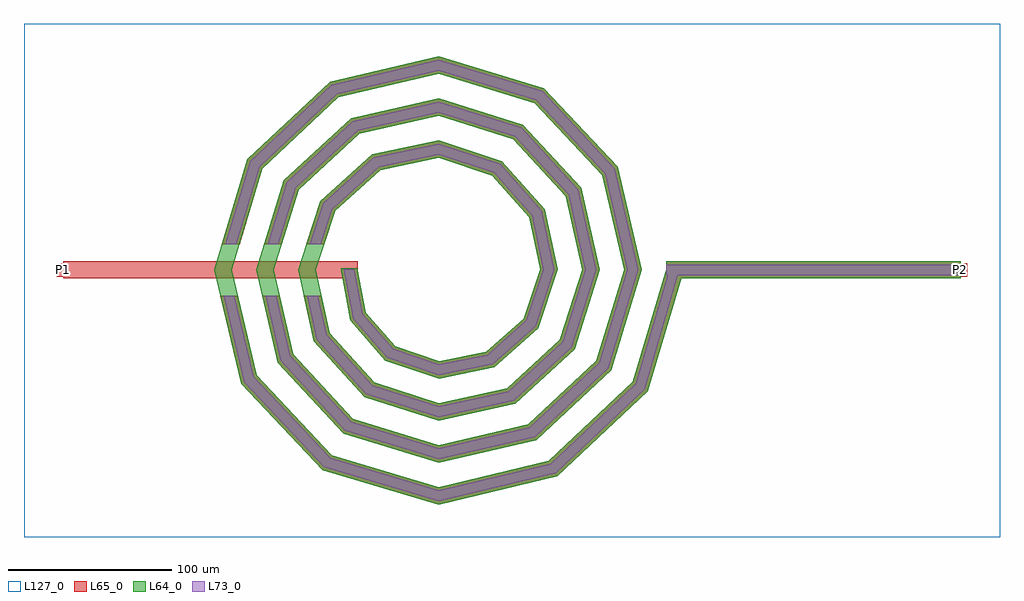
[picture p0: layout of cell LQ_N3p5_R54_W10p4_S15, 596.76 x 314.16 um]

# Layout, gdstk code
import gdstk
lib = gdstk.Library(unit=1e-6, precision=1e-09)
def R(c, l, rs):  # rectangles x0, y0, x1, y1
    for r in rs: c.add(gdstk.rectangle(r[:2], r[2:], *l))
def P(c, l, *ps):  # polygons
    for p in ps: c.add(gdstk.Polygon(p, *l))
L64_0 = (64, 0)
L65_0 = (65, 0)
L73_0 = (73, 0)
L127_0 = (127, 0)

lq_n3p5_r54_w10p4_s15 = lib.new_cell('LQ_N3p5_R54_W10p4_S15')
R(lq_n3p5_r54_w10p4_s15, L64_0, [(139.342,-5.2,319.342,5.2)])
P(lq_n3p5_r54_w10p4_s15, L64_0, [(-44.315,-26.022),(-26.449,-46.54),(0.352,-55.67),(29.199,-49.895),(52.083,-29.691),(62.091,0.318),(55.472,32.383),(32.927,57.63),(0.291,68.513),(-35.571,61.046),(-63.179,36.159),(-74.935,0.268),(-66.619,-38.763),(-39.388,-68.73),(0.248,-81.357),(41.958,-72.19),(74.283,-42.615),(87.779,0.231),(77.76,45.155),(45.839,79.837),(0.216,94.202),(-48.354,83.329),(-85.393,49.062),(-100.624,0.203),(-88.898,-51.555),(-52.284,-90.949),(0.191,-107.047),(54.756,-94.465),(96.505,-55.505),(113.469,0.181),(100.033,57.959),(58.724,102.063),(0.172,119.892),(-61.163,105.599),(-107.621,61.943),(-126.315,0.163),(-111.166,-64.367),(-65.161,-113.179),(0.156,-132.738),(67.572,-116.732),(118.738,-68.379),(139.559,1.485),(149.526,-1.485),(127.908,-74.022),(72.688,-126.206),(0.156,-143.501),(-70.817,-122.342),(-120.647,-69.47),(-137.078,0.163),(-116.775,67.612),(-66.252,115.089),(0.172,130.654),(64.408,111.208),(109.53,63.032),(124.231,0.181),(105.641,-61.204),(59.812,-103.973),(0.191,-117.808),(-58.002,-100.073),(-98.415,-56.591),(-111.384,0.203),(-94.504,54.801),(-53.368,92.859),(0.216,104.961),(51.601,88.934),(87.303,50.144),(98.538,0.231),(83.364,-48.403),(46.918,-81.748),(0.248,-92.114),(-45.206,-77.792),(-76.195,-43.69),(-85.69,0.268),(-72.218,42.012),(-40.459,70.642),(0.291,79.266),(38.822,66.642),(65.092,37.224),(72.842,0.318),(61.064,-35.635),(33.985,-59.544),(0.352,-66.417),(-32.453,-55.482),(-53.998,-30.739),(-59.727,0.983),(-49.514,0.983)])
R(lq_n3p5_r54_w10p4_s15, L65_0, [(-229.421,-5.2,-49.421,5.2), (139.342,-5.2,319.342,5.2), (-233.421,-4,-225.421,4), (315.342,-4,323.342,4)])
P(lq_n3p5_r54_w10p4_s15, L65_0, [(-111.166,-64.367),(-65.161,-113.179),(0.156,-132.738),(67.572,-116.732),(118.738,-68.379),(139.559,1.485),(149.526,-1.485),(127.908,-74.022),(72.688,-126.206),(0.156,-143.501),(-70.817,-122.342),(-120.647,-69.47),(-133.358,-15.6),(-122.673,-15.6)],
  [(-88.898,-51.555),(-52.284,-90.949),(0.191,-107.047),(54.756,-94.465),(96.505,-55.505),(113.469,0.181),(100.033,57.959),(58.724,102.063),(0.172,119.892),(-61.163,105.599),(-107.621,61.943),(-121.57,15.6),(-132.431,15.6),(-116.775,67.612),(-66.252,115.089),(0.172,130.654),(64.408,111.208),(109.53,63.032),(124.231,0.181),(105.641,-61.205),(59.812,-103.973),(0.191,-117.808),(-58.002,-100.073),(-98.415,-56.591),(-107.776,-15.6),(-97.108,-15.6)],
  [(-66.619,-38.763),(-39.388,-68.73),(0.248,-81.357),(41.958,-72.19),(74.283,-42.615),(87.779,0.231),(77.76,45.155),(45.839,79.837),(0.216,94.202),(-48.354,83.329),(-85.393,49.062),(-95.738,15.6),(-106.624,15.6),(-94.504,54.801),(-53.368,92.859),(0.216,104.961),(51.601,88.934),(87.303,50.144),(98.538,0.231),(83.364,-48.403),(46.918,-81.748),(0.248,-92.114),(-45.206,-77.792),(-76.195,-43.69),(-82.263,-15.6),(-71.623,-15.6)],
  [(-26.449,-46.54),(0.352,-55.67),(29.2,-49.895),(52.083,-29.691),(62.091,0.318),(55.472,32.383),(32.927,57.63),(0.291,68.513),(-35.571,61.046),(-63.179,36.159),(-69.814,15.6),(-80.742,15.6),(-72.218,42.013),(-40.459,70.642),(0.291,79.266),(38.822,66.642),(65.092,37.224),(72.842,0.318),(61.064,-35.635),(33.985,-59.544),(0.352,-66.417),(-32.453,-55.482),(-53.998,-30.739),(-59.727,0.983),(-49.514,0.983),(-44.316,-26.022)])
R(lq_n3p5_r54_w10p4_s15, L73_0, [(139.342,-3.2,319.342,3.2)])
P(lq_n3p5_r54_w10p4_s15, L73_0, [(-112.989,-65.348),(-66.249,-114.941),(0.096,-134.807),(68.556,-118.554),(120.501,-69.464),(141.475,0.914),(147.609,0.914),(126.145,-72.937),(71.704,-124.384),(0.096,-141.431),(-69.729,-120.58),(-118.824,-68.489),(-131.303,-15.6),(-124.727,-15.6)],
  [(-90.728,-52.523),(-53.384,-92.703),(0.118,-109.116),(55.729,-96.294),(98.262,-56.601),(115.539,0.111),(101.859,58.935),(59.817,103.822),(0.106,121.962),(-62.141,107.424),(-109.381,63.033),(-123.659,15.6),(-130.342,15.6),(-115.015,66.522),(-65.273,113.264),(0.106,128.585),(63.315,109.45),(107.704,62.057),(122.162,0.111),(103.884,-60.108),(58.84,-102.144),(0.118,-115.738),(-56.903,-98.318),(-96.585,-55.622),(-105.724,-15.6),(-99.16,-15.6)],
  [(-68.46,-39.711),(-40.507,-70.473),(0.153,-83.426),(42.912,-74.028),(76.029,-43.728),(89.848,0.142),(79.595,46.115),(46.947,81.587),(0.133,96.271),(-49.318,85.162),(-87.145,50.166),(-97.832,15.6),(-104.531,15.6),(-92.752,53.697),(-52.404,91.026),(0.133,102.892),(50.493,87.185),(85.468,49.185),(96.469,0.142),(81.617,-47.29),(45.964,-79.91),(0.153,-90.045),(-44.087,-76.049),(-74.353,-42.743),(-80.216,-15.6),(-73.669,-15.6)],
  [(-27.604,-48.26),(0.217,-57.737),(30.12,-51.751),(53.81,-30.834),(64.159,0.196),(57.322,33.314),(34.06,59.363),(0.179,70.581),(-36.511,62.892),(-64.917,37.285),(-71.915,15.6),(-78.64,15.6),(-70.48,40.887),(-39.519,68.797),(0.179,77.198),(37.688,64.909),(63.242,36.293),(70.774,0.196),(59.337,-34.492),(33.065,-57.688),(0.217,-64.35),(-31.299,-53.762),(-52.136,-29.832),(-57.763,0.605),(-51.478,0.605),(-46.178,-26.929)])
R(lq_n3p5_r54_w10p4_s15, L127_0, [(-253.421,-163.501,343.342,150.654)])
lq_n3p5_r54_w10p4_s15.add(gdstk.Label('P2', (319.342,0), layer=65, texttype=0))
lq_n3p5_r54_w10p4_s15.add(gdstk.Label('P1', (-229.421,0), layer=65, texttype=0))
lq_n3p5_r54_w10p4_s15.add(gdstk.Label('P2', (323.342,0), layer=145, texttype=0))
lq_n3p5_r54_w10p4_s15.add(gdstk.Label('P1', (-233.421,0), layer=145, texttype=0))

lib.write_gds('LQ_N3p5_R54_W10p4_S15.gds')
